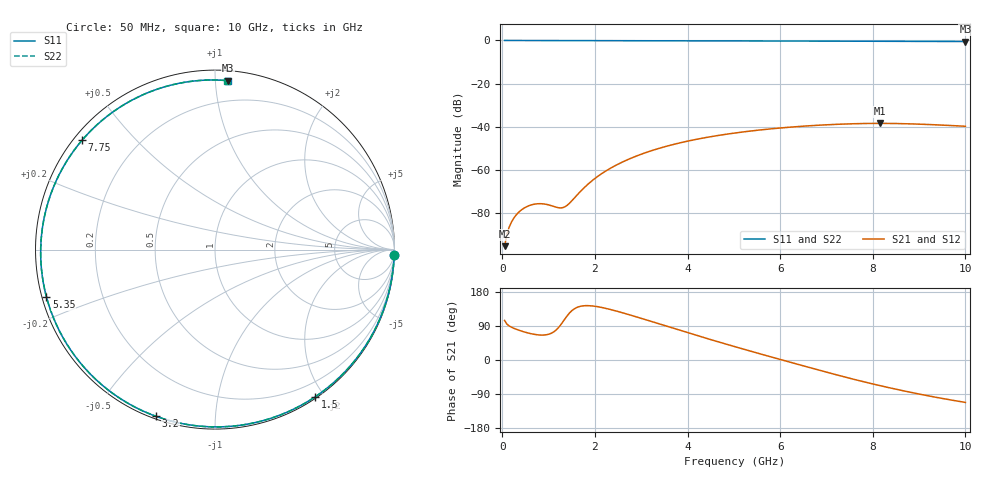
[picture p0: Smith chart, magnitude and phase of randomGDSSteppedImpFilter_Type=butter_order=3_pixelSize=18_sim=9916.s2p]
! freq	dB(S11)	phase(S11)	dB(S12)	phase(S12)
!  dB(S21)	phase(S21)	dB(S22)	phase(S22)
!S-par simulation data
#  GHz  S  DB  R 50
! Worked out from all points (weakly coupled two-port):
!   200 points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, 50 MHz to 10 GHz, reference 50 ohm
!   highest |S21| = -38.51 dB at 8.15 GHz (marker M1); lowest = -95.5 dB at 50 MHz (marker M2)
!   lowest |S11| = -0.5 dB at 10 GHz (marker M3), VSWR 34.70, Z = 3.11 + j53.8 ohm
!   |S11| at or under -10 dB: nowhere
!   |S22| runs from -0.5 to 0.0 dB; largest |S21 - S12| = 0
!   S11 on the Smith chart (normalised r, x): 50 MHz: 1, -61; 1.5 GHz: 0.02, -1.88; 3.2 GHz: 0.01, -0.71; 5.35 GHz: 0.01, -0.14; 7.75 GHz: 0.02, +0.36; 10 GHz: 0.06, +1.08
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0.05  -0.00 -1.9  -95.52 104.4  -95.52 104.4  -0.00 -1.9
0.35  -0.02 -13.4  -79.86 78.9  -79.86 78.9  -0.02 -13.4
0.55  -0.03 -21.1  -76.96 71.4  -76.96 71.4  -0.03 -21.1
0.75  -0.04 -28.6  -75.85 66.6  -75.85 66.6  -0.04 -28.6
1.3  -0.06 -48.8  -77.67 99.2  -77.67 99.2  -0.06 -48.8
1.5  -0.07 -55.9  -74.50 130.0  -74.50 130.0  -0.07 -55.9
1.75  -0.08 -64.5  -68.75 143.0  -68.75 143.0  -0.08 -64.5
2.05  -0.09 -74.5  -63.29 140.8  -63.29 140.8  -0.09 -74.5
2.35  -0.10 -84.2  -59.16 132.8  -59.16 132.8  -0.10 -84.2
2.75  -0.11 -96.5  -54.95 119.2  -54.95 119.2  -0.11 -96.5
3.2  -0.13 -109.6  -51.34 102.4  -51.34 102.4  -0.13 -109.6
3.4  -0.13 -115.2  -50.01 94.9  -50.01 94.9  -0.13 -115.2
4.25  -0.17 -137.7  -45.66 63.0  -45.66 63.0  -0.17 -137.6
5.05  -0.20 -157.3  -42.90 34.2  -42.90 34.2  -0.20 -157.3
5.35  -0.22 -164.4  -42.08 23.7  -42.08 23.7  -0.22 -164.3
6  -0.25 -179.4  -40.65 1.5  -40.65 1.5  -0.25 -179.4
6.7  -0.29 164.6  -39.53 -22.1  -39.53 -22.1  -0.29 164.6
7.75  -0.36 140.5  -38.59 -55.8  -38.59 -55.8  -0.36 140.5
8.15  -0.39 131.2  -38.51 -67.5  -38.51 -67.5  -0.39 131.2
8.35  -0.40 126.4  -38.53 -73.0  -38.53 -73.0  -0.40 126.4
9.2  -0.45 105.8  -39.02 -94.6  -39.02 -94.6  -0.45 105.8
10  -0.50 85.7  -39.85 -111.9  -39.85 -111.9  -0.50 85.8
